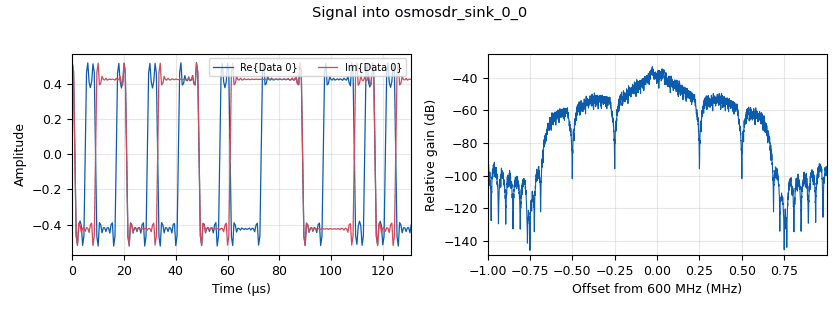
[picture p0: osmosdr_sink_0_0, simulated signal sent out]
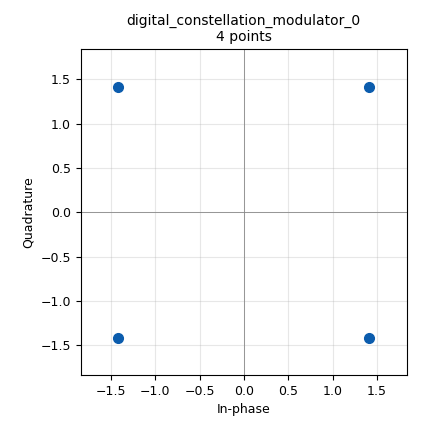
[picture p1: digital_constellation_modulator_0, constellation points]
options:
  parameters:
    author: abhilash
    generate_options: qt_gui
    id: spatialdive_sdr
    output_language: python
    title: Not titled yet
  states: {}

blocks:
- name: arity
  id: variable
  parameters:
    value: '4'
  states: {}
- name: excess_bw
  id: variable
  parameters:
    value: '0.35'
  states: {}
- name: nfilts
  id: variable
  parameters:
    value: '32'
  states: {}
- name: phase_bw
  id: variable_qtgui_range
  parameters:
    label: 'Phase: Bandwidth'
    outputmsgname: value
    showports: 'False'
    start: '0.0'
    step: '0.01'
    stop: '1.0'
    value: 6.28/100.0
    widget: slider
  states: {}
- name: qpsk
  id: variable_constellation
  parameters:
    precision: '8'
    type: qpsk
  states: {}
- name: rrc_taps
  id: variable
  parameters:
    value: firdes.root_raised_cosine(nfilts, nfilts, 1.0/float(sps), 0.35, 11*sps*nfilts)
  states: {}
- name: samp_rate
  id: variable
  parameters:
    value: '2000000'
  states: {}
- name: sps
  id: variable
  parameters:
    value: '2'
  states: {}
- name: taps
  id: variable
  parameters:
    value: '[1.0, 0.25-0.25j, 0.50 + 0.10j, -0.3 + 0.2j]'
  states: {}
- name: timing_loop_bw
  id: variable_qtgui_range
  parameters:
    label: 'Time: BW'
    outputmsgname: value
    showports: 'False'
    start: '0.0'
    step: '0.01'
    stop: '0.2'
    value: 6.28/100.0
    widget: slider
  states: {}
- name: variable_adaptive_algorithm_0
  id: variable_adaptive_algorithm
  parameters:
    cons: variable_constellation_rect_0
    modulus: '4'
    step_size: '.0001'
    type: cma
  states: {}
- name: variable_constellation_rect_0
  id: variable_constellation_rect
  parameters:
    const_points: '[-1-1j, -1+1j, 1+1j, 1-1j]'
    imag_sect: '2'
    real_sect: '2'
    rot_sym: '4'
    sym_map: '[0, 1, 3, 2]'
    w_imag_sect: '1'
    w_real_sect: '1'
  states: {}
- name: variable_qtgui_range_1
  id: variable_qtgui_range
  parameters:
    label: CHANNEL 1 100KHZ
    outputmsgname: value
    showports: 'False'
    start: '0'
    step: '0.0001'
    stop: '1'
    value: '0.3'
  states: {}
- name: analog_random_source_x_0
  id: analog_random_source_x
  parameters:
    max: '2'
    min: '0'
    num_samps: '10000'
    repeat: 'True'
    type: byte
  states: {}
- name: blocks_multiply_const_xx_0
  id: blocks_multiply_const_xx
  parameters:
    const: variable_qtgui_range_1
    type: complex
  states: {}
- name: digital_constellation_modulator_0
  id: digital_constellation_modulator
  parameters:
    constellation: qpsk
    differential: 'True'
    excess_bw: '0.35'
    samples_per_symbol: '2'
  states: {}
- name: osmosdr_sink_0_0
  id: osmosdr_sink
  parameters:
    bb_gain0: '30'
    bw0: 500e4
    freq0: 600e6
    gain0: '20'
    if_gain0: '30'
    sample_rate: samp_rate
    sync: pc_clock
    type: fc32
  states: {}

connections:
- [analog_random_source_x_0, '0', digital_constellation_modulator_0, '0']
- [blocks_multiply_const_xx_0, '0', osmosdr_sink_0_0, '0']
- [digital_constellation_modulator_0, '0', blocks_multiply_const_xx_0, '0']

metadata:
  file_format: 1
  grc_version: 3.10.4.0
